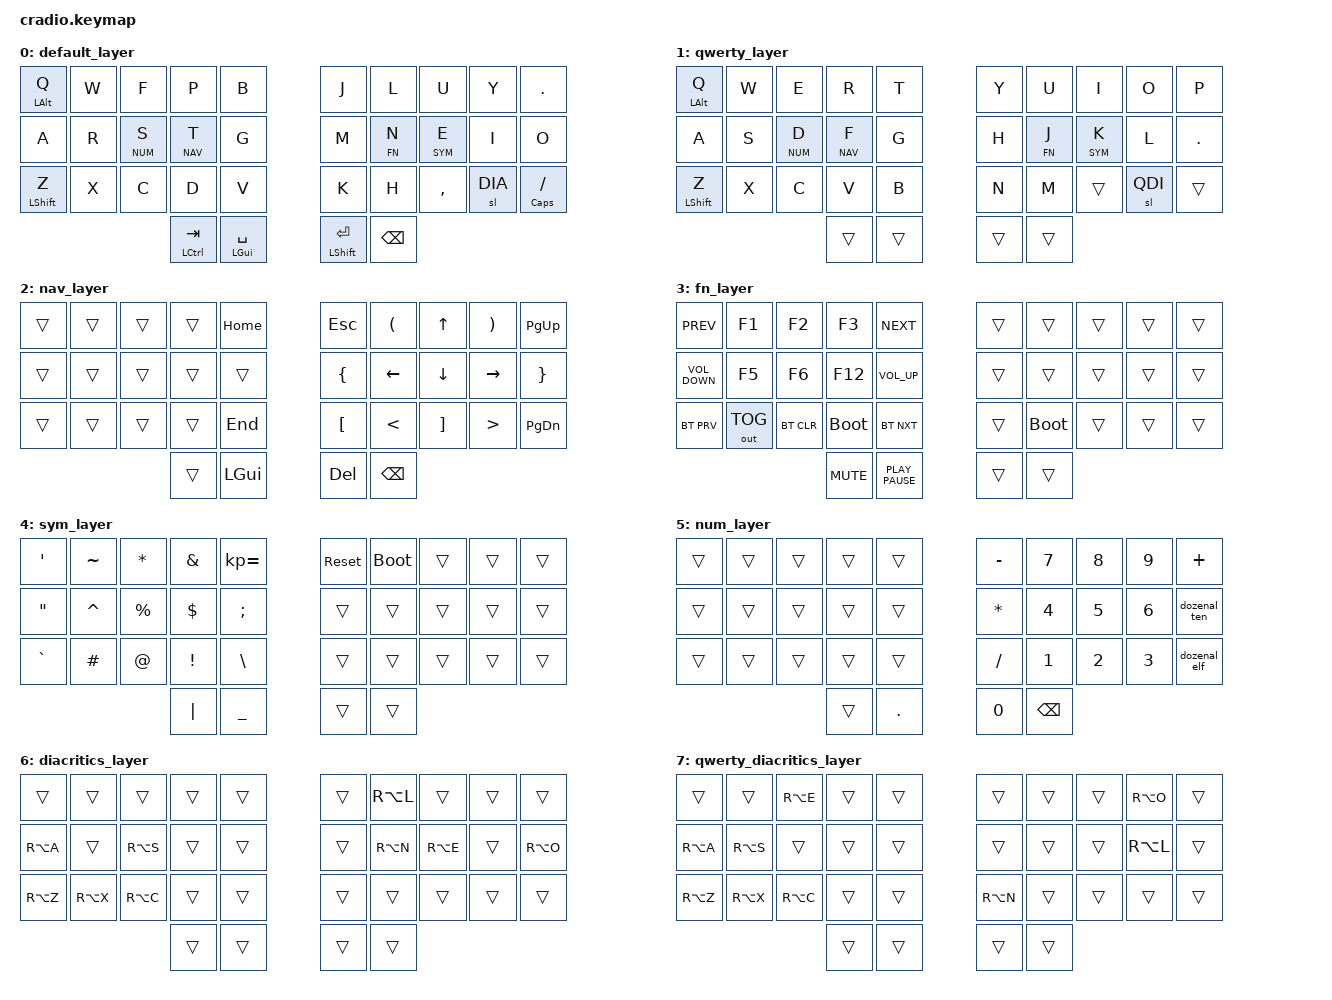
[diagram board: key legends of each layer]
/*
 * Copyright (c) 2020 The ZMK Contributors
 *
 * SPDX-License-Identifier: MIT
 *
 * Colemak Mod-DH layout based on https://git.peppe.rs/config/zmk/
 */

#include <behaviors.dtsi>
#include <dt-bindings/zmk/bt.h>
#include <dt-bindings/zmk/keys.h>
#include <dt-bindings/zmk/outputs.h>

#define COLEMAK 0
#define QWE 1
#define NAV 2
#define FN 3
#define SYM 4
#define NUM 5
#define DIA 6
#define QDI 7

&mt {
    flavor = "tap-preferred";
    tapping_term_ms = <200>;
    quick_tap_ms = <75>;
};

/ {
    combos {
        compatible = "zmk,combos";

        qwerty {
            bindings = <&tog QWE>;
            key-positions = <0 9>;
        };
    };

    macros {
        dozenal_ten: dozenal_ten {
            compatible = "zmk,behavior-macro";
            #binding-cells = <0>;
            bindings = <&kp LS(LC(U)) &kp NUMBER_2 &kp NUMBER_1 &kp N8 &kp A &kp ENTER>;
        };

        dozenal_elf: dozenal_elf {
            compatible = "zmk,behavior-macro";
            #binding-cells = <0>;
            bindings = <&kp LS(LC(U)) &kp N2 &kp N1 &kp N8 &kp B &kp ENTER>;
        };
    };

    keymap {
        compatible = "zmk,keymap";

        default_layer {
            bindings = <
&mt LEFT_ALT Q    &kp W  &kp F      &kp P                 &kp B             &kp J           &kp L          &kp U      &kp Y    &kp PERIOD
&kp A             &kp R  &lt NUM S  &lt NAV T             &kp G             &kp M           &lt FN N       &lt SYM E  &kp I    &kp O
&mt LEFT_SHIFT Z  &kp X  &kp C      &kp D                 &kp V             &kp K           &kp H          &kp COMMA  &sl DIA  &mt CAPS FSLH
                                    &mt LEFT_CONTROL TAB  &mt LGUI SPACE    &mt LSHIFT RET  &kp BACKSPACE
            >;
        };

        qwerty_layer {
            bindings = <
&mt LEFT_ALT Q    &kp W  &kp E      &kp R      &kp T     &kp Y   &kp U      &kp I     &kp O    &kp P
&kp A             &kp S  &lt NUM D  &lt NAV F  &kp G     &kp H   &lt FN J   &lt SYM K &kp L    &kp DOT
&mt LEFT_SHIFT Z  &kp X  &kp C      &kp V      &kp B     &kp N   &kp M      &trans    &sl QDI  &trans
                                    &trans     &trans    &trans  &trans
            >;
        };

        nav_layer {
            bindings = <
&trans  &trans  &trans  &trans  &kp HOME    &kp ESC           &kp LEFT_PARENTHESIS  &kp UP_ARROW  &kp RIGHT_PARENTHESIS  &kp PAGE_UP
&trans  &trans  &trans  &trans  &trans      &kp LEFT_BRACE    &kp LEFT              &kp DOWN      &kp RIGHT              &kp RIGHT_BRACE
&trans  &trans  &trans  &trans  &kp END     &kp LEFT_BRACKET  &kp LESS_THAN         &kp RBKT      &kp GREATER_THAN       &kp PAGE_DOWN
                        &trans  &kp LGUI    &kp DELETE        &kp BSPC
            >;
        };

        fn_layer {
            bindings = <
&kp K_PREV         &kp F1        &kp F2      &kp F3       &kp K_NEXT          &trans  &trans       &trans  &trans  &trans
&kp C_VOLUME_DOWN  &kp F5        &kp F6      &kp F12      &kp C_VOLUME_UP     &trans  &trans       &trans  &trans  &trans
&bt BT_PRV         &out OUT_TOG  &bt BT_CLR  &bootloader  &bt BT_NXT          &trans  &bootloader  &trans  &trans  &trans
                                             &kp K_MUTE   &kp K_PLAY_PAUSE    &trans  &trans
            >;
        };

        sym_layer {
            bindings = <
&kp SQT    &kp TILDE  &kp STAR   &kp AMPS  &kp KP_EQUAL      &sys_reset  &bootloader  &trans  &trans  &trans
&kp DQT    &kp CARET  &kp PRCNT  &kp DLLR  &kp SEMICOLON     &trans      &trans       &trans  &trans  &trans
&kp GRAVE  &kp HASH   &kp AT     &kp EXCL  &kp BACKSLASH     &trans      &trans       &trans  &trans  &trans
                                 &kp PIPE  &kp UNDERSCORE    &trans      &trans
            >;
        };

        num_layer {
            bindings = <
&trans  &trans  &trans  &trans  &trans        &kp MINUS     &kp N7         &kp N8  &kp N9  &kp PLUS
&trans  &trans  &trans  &trans  &trans        &kp ASTERISK  &kp N4         &kp N5  &kp N6  &dozenal_ten
&trans  &trans  &trans  &trans  &trans        &kp SLASH     &kp N1         &kp N2  &kp N3  &dozenal_elf
                        &trans  &kp PERIOD    &kp NUMBER_0  &kp BACKSPACE
            >;
        };

        diacritics_layer {
            bindings = <
&trans     &trans     &trans     &trans  &trans       &trans  &kp RA(L)  &trans     &trans  &trans
&kp RA(A)  &trans     &kp RA(S)  &trans  &trans       &trans  &kp RA(N)  &kp RA(E)  &trans  &kp RA(O)
&kp RA(Z)  &kp RA(X)  &kp RA(C)  &trans  &trans       &trans  &trans     &trans     &trans  &trans
                                 &trans  &trans       &trans  &trans
            >;
        };

        qwerty_diacritics_layer {
            bindings = <
&trans     &trans     &kp RA(E)  &trans  &trans    &trans     &trans  &trans  &kp RA(O)  &trans
&kp RA(A)  &kp RA(S)  &trans     &trans  &trans    &trans     &trans  &trans  &kp RA(L)  &trans
&kp RA(Z)  &kp RA(X)  &kp RA(C)  &trans  &trans    &kp RA(N)  &trans  &trans  &trans     &trans
                                 &trans  &trans    &trans     &trans
            >;
        };
    };
};
